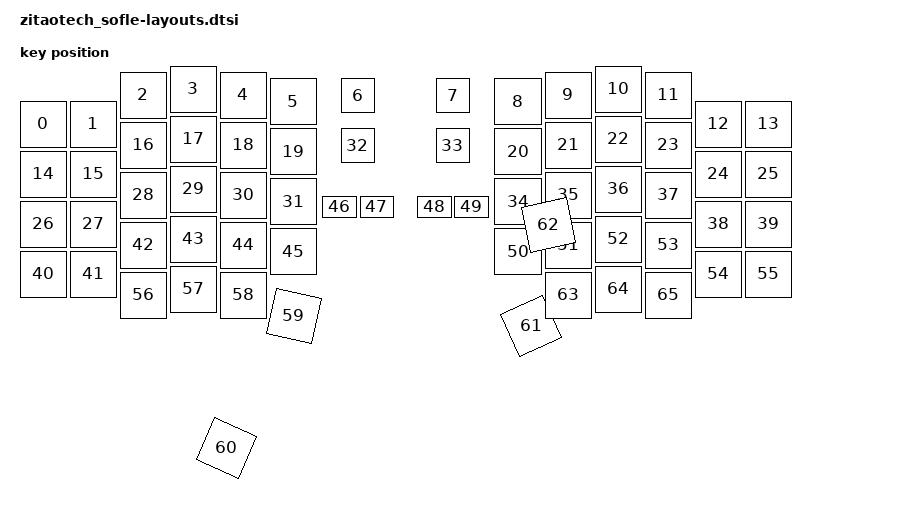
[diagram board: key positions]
#include <physical_layouts.dtsi>
#include <dt-bindings/zmk/matrix_transform.h>

/ {
    zitaotech_sofle_layout: zitaotech_sofle_layout {
        compatible = "zmk,physical-layout";
        display-name = "zitaotech_sofle";

        kscan = <&kscan0>;
        transform = <&matrix_transform0>;

        keys  //                     w   h    x    y     rot    rx    ry
            = <&key_physical_attrs 100 100    0   70       0     0     0>
            , <&key_physical_attrs 100 100  100   70       0     0     0>
            , <&key_physical_attrs 100 100  200   12       0     0     0>
            , <&key_physical_attrs 100 100  300    0       0     0     0>
            , <&key_physical_attrs 100 100  400   12       0     0     0>
            , <&key_physical_attrs 100 100  500   25       0     0     0>
            , <&key_physical_attrs  75  75  642   25       0     0     0>
            , <&key_physical_attrs  75  75  832   25       0     0     0>
            , <&key_physical_attrs 100 100  950   25       0     0     0>
            , <&key_physical_attrs 100 100 1050   12       0     0     0>
            , <&key_physical_attrs 100 100 1150    0       0     0     0>
            , <&key_physical_attrs 100 100 1250   12       0     0     0>
            , <&key_physical_attrs 100 100 1350   70       0     0     0>
            , <&key_physical_attrs 100 100 1450   70       0     0     0>
            , <&key_physical_attrs 100 100    0  170       0     0     0>
            , <&key_physical_attrs 100 100  100  170       0     0     0>
            , <&key_physical_attrs 100 100  200  112       0     0     0>
            , <&key_physical_attrs 100 100  300  100       0     0     0>
            , <&key_physical_attrs 100 100  400  112       0     0     0>
            , <&key_physical_attrs 100 100  500  125       0     0     0>
            , <&key_physical_attrs 100 100  950  125       0     0     0>
            , <&key_physical_attrs 100 100 1050  112       0     0     0>
            , <&key_physical_attrs 100 100 1150  100       0     0     0>
            , <&key_physical_attrs 100 100 1250  112       0     0     0>
            , <&key_physical_attrs 100 100 1350  170       0     0     0>
            , <&key_physical_attrs 100 100 1450  170       0     0     0>
            , <&key_physical_attrs 100 100    0  270       0     0     0>
            , <&key_physical_attrs 100 100  100  270       0     0     0>
            , <&key_physical_attrs 100 100  200  212       0     0     0>
            , <&key_physical_attrs 100 100  300  200       0     0     0>
            , <&key_physical_attrs 100 100  400  212       0     0     0>
            , <&key_physical_attrs 100 100  500  225       0     0     0>
            , <&key_physical_attrs  75  75  642  125       0     0     0>
            , <&key_physical_attrs  75  75  832  125       0     0     0>
            , <&key_physical_attrs 100 100  950  225       0     0     0>
            , <&key_physical_attrs 100 100 1050  212       0     0     0>
            , <&key_physical_attrs 100 100 1150  200       0     0     0>
            , <&key_physical_attrs 100 100 1250  212       0     0     0>
            , <&key_physical_attrs 100 100 1350  270       0     0     0>
            , <&key_physical_attrs 100 100 1450  270       0     0     0>
            , <&key_physical_attrs 100 100    0  370       0     0     0>
            , <&key_physical_attrs 100 100  100  370       0     0     0>
            , <&key_physical_attrs 100 100  200  312       0     0     0>
            , <&key_physical_attrs 100 100  300  300       0     0     0>
            , <&key_physical_attrs 100 100  400  312       0     0     0>
            , <&key_physical_attrs 100 100  500  325       0     0     0>
            , <&key_physical_attrs  75  50  605  260       0     0     0>
            , <&key_physical_attrs  75  50  680  260       0     0     0>
            , <&key_physical_attrs  75  50  795  260       0     0     0>
            , <&key_physical_attrs  75  50  870  260       0     0     0>
            , <&key_physical_attrs 100 100  950  325       0     0     0>
            , <&key_physical_attrs 100 100 1050  312       0     0     0>
            , <&key_physical_attrs 100 100 1150  300       0     0     0>
            , <&key_physical_attrs 100 100 1250  312       0     0     0>
            , <&key_physical_attrs 100 100 1350  370       0     0     0>
            , <&key_physical_attrs 100 100 1450  370       0     0     0>
            , <&key_physical_attrs 100 100  200  412       0     0     0>
            , <&key_physical_attrs 100 100  300  400       0     0     0>
            , <&key_physical_attrs 100 100  400  412       0     0     0>
            , <&key_physical_attrs 100 100  520  407    1193   335   393>
            , <&key_physical_attrs 100 100  642  484    2387     0     0>
            , <&key_physical_attrs 100 100  769  407 (-2387)  1082     0>
            , <&key_physical_attrs 100 100  922  484 (-1193)     0     0>
            , <&key_physical_attrs 100 100 1050  412       0     0     0>
            , <&key_physical_attrs 100 100 1150  400       0     0     0>
            , <&key_physical_attrs 100 100 1250  412       0     0     0>
            ;
    };
};



